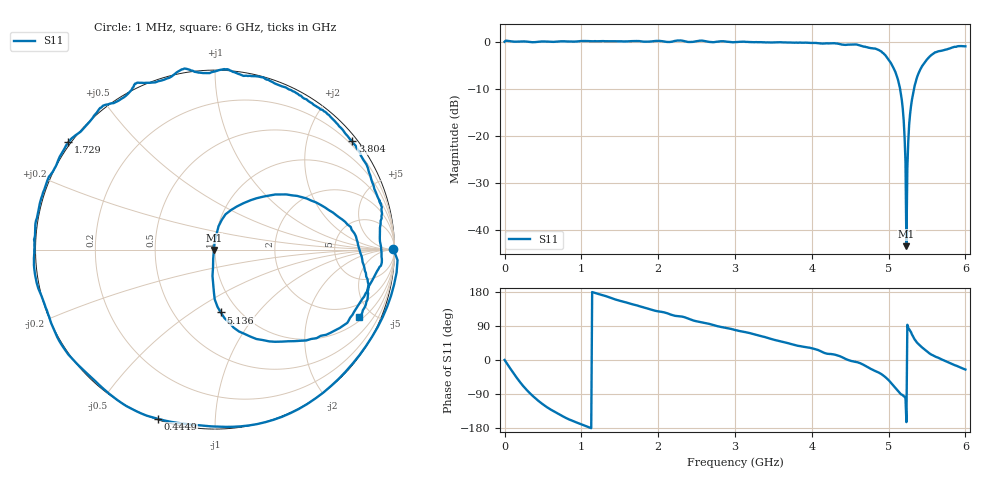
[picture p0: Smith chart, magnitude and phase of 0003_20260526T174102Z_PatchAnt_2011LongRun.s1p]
# Hz S RI R 50
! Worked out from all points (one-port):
!   501 points, 1 MHz to 6 GHz, reference 50 ohm
!   lowest |S11| = -43.5 dB at 5.232 GHz (marker M1), VSWR 1.01, Z = 49.4 - j0.182 ohm
!   |S11| at or under -10 dB: 5.149 GHz to 5.332 GHz (183.1 MHz wide, 3.49 % of centre)
!   S11 on the Smith chart (normalised r, x): 1 MHz: open; 444.9 MHz: 0.00, -0.72; 1.729 GHz: -0.01, +0.33; 3.804 GHz: 0.12, +2.88; 5.136 GHz: 0.83, -0.66; 6 GHz: 1.16, -4.18
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1000000  0.9944 0.00167
8.4986e7  0.9064 -0.432
2.16964e8  0.4667 -0.8879
3.0095e8  0.1438 -0.9846
4.44926e8  -0.316 -0.9435
7.56874e8  -0.8563 -0.5277
1.068822e9  -1.009 -0.0865
1.50075e9  -0.9251 0.4067
1.728712e9  -0.8167 0.5981
2.256624e9  -0.4457 0.9244
3.0005e9  0.1827 0.9673
3.756374e9  0.738 0.6338
3.804366e9  0.7655 0.6032
4.044326e9  0.8475 0.465
4.50025e9  0.9279 -0.0251
4.872188e9  0.6791 -0.4448
5.028162e9  0.3022 -0.5114
5.136144e9  0.032 -0.3504
5.184136e9  -0.00967 -0.1945
5.196134e9  -0.014 -0.1468
5.208132e9  -0.0109 -0.0962
5.232128e9  -0.00639 -0.00184
5.256124e9  0.00828 0.086
5.268122e9  0.0199 0.1304
5.292118e9  0.0588 0.197
5.412098e9  0.398 0.3073
5.628062e9  0.7698 0.0999
6e9  0.8044 -0.3775
